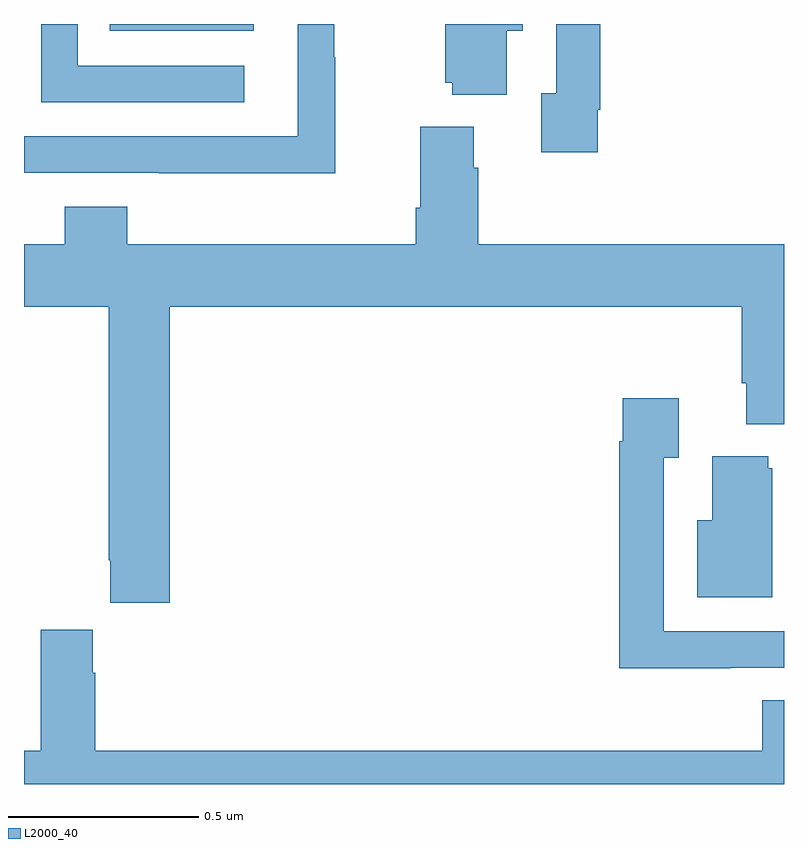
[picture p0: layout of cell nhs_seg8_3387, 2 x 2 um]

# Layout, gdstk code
import gdstk
lib = gdstk.Library(unit=1e-6, precision=1e-09)
def R(c, l, rs):  # rectangles x0, y0, x1, y1
    for r in rs: c.add(gdstk.rectangle(r[:2], r[2:], *l))
def P(c, l, *ps):  # polygons
    for p in ps: c.add(gdstk.Polygon(p, *l))
L2000_40 = (2000, 40)

nhs_seg8_3387 = lib.new_cell('nhs_seg8_3387')
R(nhs_seg8_3387, L2000_40, [(156.226,1127.882,156.604,1127.9)])
P(nhs_seg8_3387, L2000_40, [(156.819,1127.813),(156.816,1127.813),(156.816,1127.9),(156.72,1127.9),(156.72,1127.604),(156,1127.604),(156,1127.508),(156.355,1127.508),(156.355,1127.507),(156.819,1127.507)],
  [(156.58,1127.79),(156.141,1127.79),(156.141,1127.9),(156.045,1127.9),(156.045,1127.694),(156.58,1127.694)],
  [(157.51,1127.674),(157.517,1127.674),(157.517,1127.9),(157.401,1127.9),(157.401,1127.718),(157.361,1127.718),(157.361,1127.562),(157.51,1127.562)],
  [(157.27,1127.882),(157.312,1127.882),(157.312,1127.9),(157.109,1127.9),(157.109,1127.745),(157.127,1127.745),(157.127,1127.714),(157.27,1127.714)],
  [(156.383,1127.156),(157.889,1127.156),(157.889,1126.954),(157.901,1126.954),(157.901,1126.847),(158,1126.847),(158,1127.32),(157.196,1127.32),(157.196,1127.522),(157.183,1127.522),(157.183,1127.629),(157.043,1127.629),(157.043,1127.416),(157.031,1127.416),(157.031,1127.32),(156.272,1127.32),(156.272,1127.419),(156.107,1127.419),(156.107,1127.32),(156,1127.32),(156,1127.156),(156.223,1127.156),(156.223,1126.489),(156.227,1126.489),(156.227,1126.377),(156.383,1126.377)],
  [(157.859,1126.206),(158,1126.206),(158,1126.302),(157.683,1126.302),(157.683,1126.759),(157.723,1126.759),(157.723,1126.915),(157.575,1126.915),(157.575,1126.802),(157.567,1126.802),(157.567,1126.205),(157.859,1126.205)],
  [(157.969,1126.731),(157.958,1126.731),(157.958,1126.762),(157.811,1126.762),(157.811,1126.594),(157.772,1126.594),(157.772,1126.391),(157.969,1126.391)],
  [(158,1126.121),(157.943,1126.121),(157.943,1125.988),(156.188,1125.988),(156.188,1126.193),(156.181,1126.193),(156.181,1126.306),(156.044,1126.306),(156.044,1125.988),(156,1125.988),(156,1125.9),(158,1125.9)])

lib.write_gds('nhs_seg8_3387.gds')
